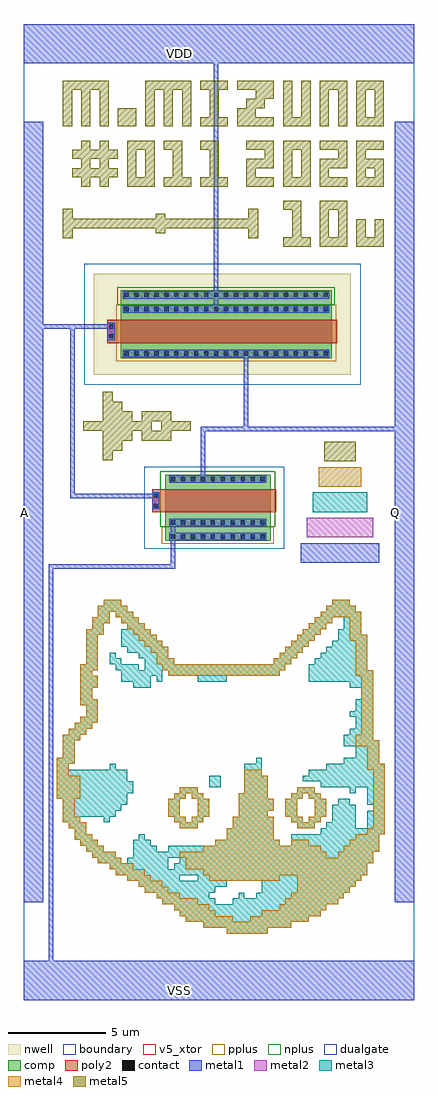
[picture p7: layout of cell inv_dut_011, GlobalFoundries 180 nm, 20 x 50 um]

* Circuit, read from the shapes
.subckt inv_dut_011 A Q VDD VSS
XM1 Q A VSS VSS nfet_05v0 w=5.4u l=1.2u
XM2 VDD A Q VDD pfet_05v0 w=10.8u l=1.2u
.ends

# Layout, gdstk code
from math import pi, radians
import gdstk
lib = gdstk.Library(unit=1e-6, precision=1e-09)
def R(c, l, rs):  # rectangles x0, y0, x1, y1
    for r in rs: c.add(gdstk.rectangle(r[:2], r[2:], *l))
def A(c, l, x, y, w, h, nx, ny, dx, dy):  # array of equal rectangles
    R(c, l, [(x+i*dx, y+j*dy, x+i*dx+w, y+j*dy+h) for i in range(nx) for j in range(ny)])
boundary = (0, 0)
nwell = (21, 0)
comp = (22, 0)
poly2 = (30, 0)
pplus = (31, 0)
nplus = (32, 0)
contact = (33, 0)
metal1 = (34, 0)
metal2 = (36, 0)
metal3 = (42, 0)
metal4 = (46, 0)
dualgate = (55, 0)
metal5 = (81, 0)
v5_xtor = (112, 1)

nfet_17 = lib.new_cell('nfet$17')
R(nfet_17, comp, [(-0.42,0,2.95,5.4)])
R(nfet_17, poly2, [(0.31,-0.66,1.51,5.7)])
R(nfet_17, pplus, [(2.24,-0.17,3.12,5.57)])
R(nfet_17, nplus, [(-0.59,-0.24,2.24,5.64)])
A(nfet_17, contact, -0.32, 0.295, 0.22, 0.22, 1, 10, 0, 0.51)
A(nfet_17, contact, 1.92, 0.295, 0.22, 0.22, 1, 10, 0, 0.51)
A(nfet_17, contact, 2.63, 0.295, 0.22, 0.22, 1, 10, 0, 0.51)
R(nfet_17, contact, [(0.545,-0.59,0.765,-0.37), (1.055,-0.59,1.275,-0.37)])
R(nfet_17, metal1, [(0.465,-0.67,1.355,-0.29), (-0.4,0.215,-0.02,5.185), (1.84,0.215,2.22,5.185), (2.55,0.215,2.93,5.185)])
R(nfet_17, dualgate, [(-0.84,-1.08,3.37,6.11)])
R(nfet_17, v5_xtor, [(-0.84,-1.08,3.37,6.11)])

pfet_15 = lib.new_cell('pfet$15')
R(pfet_15, nwell, [(-1.32,-0.99,3.87,12.17)])
R(pfet_15, comp, [(-0.46,0,3.01,10.8)])
R(pfet_15, poly2, [(0.31,-0.3,1.51,11.48)])
R(pfet_15, pplus, [(-0.63,-0.24,2.28,11.04)])
R(pfet_15, nplus, [(2.28,-0.17,3.18,10.97)])
A(pfet_15, contact, -0.34, 0.19, 0.22, 0.22, 1, 21, 0, 0.51)
A(pfet_15, contact, 1.94, 0.19, 0.22, 0.22, 1, 21, 0, 0.51)
A(pfet_15, contact, 2.67, 0.19, 0.22, 0.22, 1, 21, 0, 0.51)
R(pfet_15, contact, [(0.545,11.18,0.765,11.4), (1.055,11.18,1.275,11.4)])
R(pfet_15, metal1, [(-0.42,0.11,-0.04,10.69), (1.86,0.11,2.24,10.69), (2.59,0.11,2.97,10.69), (0.465,11.1,1.355,11.48)])
R(pfet_15, dualgate, [(-1.82,-1.49,4.37,12.67)])
R(pfet_15, v5_xtor, [(-1.82,-1.49,4.37,12.67)])

inv_dut_011 = lib.new_cell('inv_dut_011')
R(inv_dut_011, boundary, [(-10,-25,10,25)])
R(inv_dut_011, metal1, [(-10,-25,10,-23), (-10,-20,-9,20), (9,-20,10,20), (4.2,-2.6,8.2,-1.6), (-10,23,10,25)])
R(inv_dut_011, metal2, [(4.5,-1.3,7.9,-0.3)])
R(inv_dut_011, metal3, [(0.4,-21.6,2.5,-21.3), (-0.8,-21.3,3.7,-21), (-1.7,-21,4.6,-20.7), (-2,-20.7,5.2,-20.4), (-2.3,-20.4,5.5,-20.1), (-2.9,-20.1,-0.2,-19.8), (0.7,-20.1,6.1,-19.8), (-3.2,-19.8,-0.5,-19.5), (1,-19.8,1.3,-19.5), (1.9,-19.8,6.4,-19.5), (-3.8,-19.5,-0.2,-19.2), (2.2,-19.5,6.7,-19.2), (-4.1,-19.2,0.4,-18.9), (2.2,-19.2,7,-18.9), (-4.7,-18.9,-2,-18.6), (-1.1,-18.9,7.3,-18.6), (-5.3,-18.6,7.6,-18.3), (-5.6,-18.3,-2.6,-18), (-2.3,-18.3,7.6,-18), (-6.2,-18,-5,-17.7), (-4.7,-18,-2.6,-17.7), (-2,-18,7.9,-17.7), (-6.5,-17.7,-5.3,-17.4), (-4.4,-17.7,7.9,-17.4), (-6.8,-17.4,-5.9,-17.1), (-4.4,-17.4,-3.2,-17.1), (-2.6,-17.4,8.2,-17.1), (-7.1,-17.1,-6.2,-16.8), (-4.4,-17.1,-3.5,-16.8), (-0.2,-17.1,3.1,-16.8), (3.7,-17.1,8.2,-16.5), (-7.4,-16.8,-6.5,-16.5), (-4.1,-16.8,-3.8,-16.5), (0.4,-16.8,2.8,-16.2), (-7.4,-16.5,-6.8,-16.2), (5.2,-16.5,8.5,-16.2), (-7.7,-16.2,-6.8,-15.9), (-2,-16.2,-1.1,-15.9), (0.7,-16.2,2.8,-15.6), (4,-16.2,4.9,-15.9), (5.5,-16.2,7,-15.9), (7.6,-16.2,8.5,-15.3), (-8,-15.9,-7.1,-15.6), (-5.9,-15.9,-5.6,-15.6), (-2.3,-15.9,-1.7,-15.6), (-1.4,-15.9,-0.8,-15.6), (3.7,-15.9,4.3,-15.6), (4.6,-15.9,5.2,-15.6), (5.8,-15.9,7,-15), (-8,-15.6,-5.3,-15.3), (-2.6,-15.6,-2,-14.7), (-1.1,-15.6,-0.5,-14.7), (1,-15.6,2.5,-15.3), (3.4,-15.6,4,-14.7), (4.9,-15.6,5.5,-14.7), (-8,-15.3,-5,-15), (1,-15.3,2.8,-14.7), (7.9,-15.3,8.5,-15), (-8,-15,-4.7,-14.7), (6.1,-15,6.7,-14.7), (7.6,-15,8.5,-14.1), (-8.3,-14.7,-4.7,-14.4), (-2.3,-14.7,-1.7,-14.4), (-1.4,-14.7,-0.8,-14.4), (1,-14.7,2.5,-14.4), (3.7,-14.7,4.3,-14.4), (4.6,-14.7,5.2,-14.4), (-8.3,-14.4,-4.4,-13.8), (-2,-14.4,-1.1,-14.1), (1.3,-14.4,2.5,-13.5), (4,-14.4,4.9,-14.1), (6.7,-14.4,7,-14.1), (-0.5,-14.1,0.1,-13.5), (5.2,-14.1,8.5,-13.8), (-8.3,-13.8,-4.7,-13.2), (4.3,-13.8,8.5,-13.5), (1.3,-13.5,2.2,-12.9), (4.6,-13.5,8.5,-13.2), (-8.3,-13.2,-7.7,-12.9), (-5.6,-13.2,-5.3,-12.9), (5.5,-13.2,8.5,-12.9), (-8.3,-12.9,-7.4,-12.6), (1.9,-12.9,2.2,-12.6), (6.4,-12.9,8.2,-12.6), (-8,-12.6,-7.4,-11.7), (7,-12.6,8.2,-12), (6.4,-12,8.2,-11.7), (-8,-11.7,-7.1,-11.4), (6.4,-11.7,7.9,-11.4), (-7.7,-11.4,-6.8,-11.1), (6.7,-11.4,7.9,-11.1), (-7.4,-11.1,-6.5,-10.8), (7,-11.1,7.9,-10.5), (-7.1,-10.8,-6.2,-10.5), (-6.8,-10.5,-6.2,-9.9), (6.7,-10.5,7.9,-10.2), (7,-10.2,7.9,-9.6), (-7.1,-9.9,-6.2,-9.6), (-7.1,-9.6,-6.5,-9), (7.3,-9.6,7.9,-9), (-7.1,-9,-6.2,-8.4), (-4.4,-9,-3.5,-8.7), (6.7,-9,7.9,-8.7), (-5,-8.7,-3.5,-8.4), (-3.2,-8.7,-2.9,-8.4), (-1.1,-8.7,0.4,-8.4), (4.6,-8.7,7.9,-8.1), (-7.1,-8.4,-6.5,-8.1), (-5,-8.4,-2.9,-8.1), (-2.6,-8.4,3.1,-8.1), (-7.1,-8.1,-6.2,-7.8), (-5.3,-8.1,-4.1,-7.8), (-3.8,-8.1,3.4,-7.8), (4.6,-8.1,7.6,-7.8), (-6.8,-7.8,-6.2,-6.3), (-5.6,-7.8,-5,-7.5), (-3.8,-7.8,-2.3,-7.5), (2.8,-7.8,3.7,-7.5), (4.9,-7.8,7.6,-7.5), (-5.6,-7.5,-5.3,-7.2), (-4.1,-7.5,-2.6,-7.2), (3.1,-7.5,4,-7.2), (5.2,-7.5,7.6,-7.2), (-4.7,-7.2,-2.6,-6.9), (3.4,-7.2,4.3,-6.9), (5.5,-7.2,7.6,-6.9), (-5,-6.9,-2.9,-6.6), (3.7,-6.9,4.6,-6.6), (5.8,-6.9,7.6,-6.6), (-5,-6.6,-3.2,-6.3), (4,-6.6,4.9,-6.3), (6.1,-6.6,7.6,-6.3), (-6.8,-6.3,-5.9,-6), (-5,-6.3,-3.5,-6), (4.3,-6.3,5.2,-6), (6.1,-6.3,7.3,-6), (-6.5,-6,-5.9,-5.7), (-4.7,-6,-3.8,-5.7), (4.6,-6,5.5,-5.7), (6.4,-6,7.3,-5.4), (-6.5,-5.7,-5.6,-5.4), (-5,-5.7,-4.1,-5.4), (4.9,-5.7,5.8,-5.4), (-6.2,-5.4,-5.6,-5.1), (-5.3,-5.4,-4.4,-5.1), (5.2,-5.4,7.3,-5.1), (-6.2,-5.1,-4.7,-4.8), (5.5,-5.1,7,-4.8), (-5.9,-4.8,-5,-4.5), (5.8,-4.8,6.7,-4.5), (4.8,0,7.6,1)])
R(inv_dut_011, metal4, [(0.4,-21.6,2.5,-21.3), (-0.8,-21.3,3.7,-21), (-1.7,-21,0.7,-20.7), (1.6,-21,4.6,-20.7), (-2,-20.7,-0.2,-20.4), (2.2,-20.7,5.2,-20.4), (-2.3,-20.4,-0.5,-20.1), (3.1,-20.4,5.5,-20.1), (-2.9,-20.1,-1.1,-19.8), (3.4,-20.1,6.1,-19.8), (-3.2,-19.8,-2,-19.5), (3.7,-19.8,6.4,-19.5), (-3.8,-19.5,-2.6,-19.2), (4,-19.5,6.7,-19.2), (-4.1,-19.2,-2.9,-18.9), (4,-19.2,7,-18.9), (-4.7,-18.9,-3.5,-18.6), (-0.5,-18.9,3.1,-18.6), (4,-18.9,7.3,-18.6), (-5.3,-18.6,-3.8,-18.3), (-0.8,-18.6,7.6,-18.3), (-5.6,-18.3,-4.4,-18), (-1.7,-18.3,7.6,-18), (-6.2,-18,-5,-17.7), (-1.7,-18,7.9,-17.7), (-6.5,-17.7,-5.3,-17.4), (-2,-17.7,5.5,-17.4), (6.1,-17.7,7.9,-17.4), (-6.8,-17.4,-5.9,-17.1), (-0.8,-17.4,5.2,-17.1), (6.4,-17.4,8.2,-17.1), (-7.1,-17.1,-6.2,-16.8), (-0.2,-17.1,3.1,-16.8), (3.7,-17.1,4.6,-16.8), (6.7,-17.1,8.2,-16.8), (-7.4,-16.8,-6.5,-16.5), (0.4,-16.8,2.8,-16.2), (7,-16.8,8.2,-16.5), (-7.4,-16.5,-6.8,-16.2), (7.6,-16.5,8.5,-16.2), (-7.7,-16.2,-6.8,-15.9), (-2,-16.2,-1.1,-15.9), (0.7,-16.2,2.8,-15.6), (4,-16.2,4.9,-15.9), (7.9,-16.2,8.5,-13.2), (-8,-15.9,-7.1,-15.6), (-2.3,-15.9,-1.7,-15.6), (-1.4,-15.9,-0.8,-15.6), (3.7,-15.9,4.3,-15.6), (4.6,-15.9,5.2,-15.6), (-8,-15.6,-7.4,-14.7), (-2.6,-15.6,-2,-14.7), (-1.1,-15.6,-0.5,-14.7), (1,-15.6,2.5,-15.3), (3.4,-15.6,4,-14.7), (4.9,-15.6,5.5,-14.7), (1,-15.3,2.8,-14.7), (-8.3,-14.7,-7.1,-13.5), (-2.3,-14.7,-1.7,-14.4), (-1.4,-14.7,-0.8,-14.4), (1,-14.7,2.5,-14.4), (3.7,-14.7,4.3,-14.4), (4.6,-14.7,5.2,-14.4), (-2,-14.4,-1.1,-14.1), (1.3,-14.4,2.5,-13.5), (4,-14.4,4.9,-14.1), (-8.3,-13.5,-7.7,-12.9), (1.3,-13.5,2.2,-13.2), (7.6,-13.2,8.5,-12.9), (-8.3,-12.9,-7.4,-12.6), (7.6,-12.9,8.2,-12), (-8,-12.6,-7.4,-11.7), (7,-12,8.2,-11.7), (-8,-11.7,-7.1,-11.4), (7,-11.7,7.9,-11.4), (-7.7,-11.4,-6.8,-11.1), (7.3,-11.4,7.9,-8.4), (-7.4,-11.1,-6.5,-10.8), (-7.1,-10.8,-6.2,-10.5), (-6.8,-10.5,-6.2,-9.9), (-7.1,-9.9,-6.2,-9.6), (-7.1,-9.6,-6.5,-9), (-7.1,-9,-6.2,-8.4), (-7.1,-8.4,-6.5,-8.1), (-2.6,-8.4,3.1,-8.1), (7,-8.4,7.9,-8.1), (-7.1,-8.1,-6.2,-7.8), (-2.9,-8.1,3.4,-7.8), (7,-8.1,7.6,-6.6), (-6.8,-7.8,-6.2,-6.3), (-3.2,-7.8,-2.3,-7.5), (2.8,-7.8,3.7,-7.5), (-3.2,-7.5,-2.6,-7.2), (3.1,-7.5,4,-7.2), (-3.5,-7.2,-2.6,-6.9), (3.4,-7.2,4.3,-6.9), (-3.8,-6.9,-2.9,-6.6), (3.7,-6.9,4.6,-6.6), (-4.1,-6.6,-3.2,-6.3), (4,-6.6,4.9,-6.3), (6.7,-6.6,7.6,-6.3), (-6.8,-6.3,-5.9,-6), (-4.4,-6.3,-3.5,-6), (4.3,-6.3,5.2,-6), (6.7,-6.3,7.3,-5.4), (-6.5,-6,-5.9,-5.7), (-4.7,-6,-3.8,-5.7), (4.6,-6,5.5,-5.7), (-6.5,-5.7,-5.6,-5.4), (-5,-5.7,-4.1,-5.4), (4.9,-5.7,5.8,-5.4), (-6.2,-5.4,-5.6,-5.1), (-5.3,-5.4,-4.4,-5.1), (5.2,-5.4,7.3,-5.1), (-6.2,-5.1,-4.7,-4.8), (5.5,-5.1,7,-4.8), (-5.9,-4.8,-5,-4.5), (5.8,-4.8,6.7,-4.5), (5.1,1.3,7.3,2.3)])
A(inv_dut_011, metal5, 3.28, 13.6, 1.41, 0.47, 3, 1, 1.88, 0)
A(inv_dut_011, metal5, -7.06, 16.675, 0.47, 0.47, 1, 3, 0, 0.94)
A(inv_dut_011, metal5, -6.12, 16.675, 0.47, 0.47, 1, 3, 0, 0.94)
A(inv_dut_011, metal5, -4.71, 16.675, 1.41, 0.47, 3, 1, 1.88, 0)
A(inv_dut_011, metal5, 1.4, 16.675, 1.41, 0.47, 4, 2, 1.88, 1.88)
A(inv_dut_011, metal5, -8, 19.75, 0.47, 1.88, 3, 1, 0.94, 0)
A(inv_dut_011, metal5, -3.77, 19.75, 0.47, 1.88, 3, 1, 0.94, 0)
R(inv_dut_011, metal5, [(5.4,2.6,7,3.6), (-5.95,2.65,-5.45,3.15), (-5.95,3.15,-4.95,3.65), (-5.95,3.65,-4.45,4.15), (-3.95,3.65,-2.45,4.15), (-6.95,4.15,-3.45,4.65), (-2.95,4.15,-1.45,4.65), (-5.95,4.65,-4.45,5.15), (-3.95,4.65,-2.45,5.15), (-5.95,5.15,-4.95,5.65), (-5.95,5.65,-5.45,6.15), (-8,14.025,-7.5,14.525), (1.5,14.025,2,14.525), (3.75,14.07,4.22,15.48), (5.16,14.07,5.63,15.48), (6.1,14.07,6.57,15.48), (7.04,14.07,7.51,15.01), (7.98,14.07,8.45,15.01), (-3.25,14.275,-2.75,14.525), (-8,14.525,2,15.025), (-8,15.025,-7.5,15.525), (-3.25,15.025,-2.75,15.275), (1.5,15.025,2,15.525), (3.28,15.48,4.22,15.95), (5.16,15.48,6.57,15.95), (-7.53,17.145,-5.18,17.615), (-4.71,17.145,-4.24,18.555), (-3.77,17.145,-3.3,18.555), (-2.36,17.145,-1.89,18.555), (-0.48,17.145,-0.01,18.555), (1.4,17.145,1.87,17.615), (3.28,17.145,3.75,18.555), (4.22,17.145,4.69,18.555), (5.16,17.145,5.63,17.615), (7.04,17.145,7.51,17.615), (7.98,17.145,8.45,17.615), (1.4,17.615,2.81,18.085), (5.16,17.615,6.57,18.085), (7.04,17.615,8.45,18.085), (-7.53,18.085,-5.18,18.555), (2.34,18.085,2.81,18.555), (6.1,18.085,6.57,18.555), (7.04,18.085,7.51,18.555), (-4.71,18.555,-3.3,19.025), (-2.83,18.555,-1.89,19.025), (-0.95,18.555,-0.01,19.025), (-5.18,19.75,-4.24,20.69), (-0.95,19.75,0.46,20.22), (0.93,19.75,2.81,20.22), (3.28,19.75,4.69,20.22), (5.16,19.75,5.63,21.63), (6.1,19.75,6.57,21.63), (7.04,19.75,8.45,20.22), (-0.48,20.22,-0.01,21.63), (0.93,20.22,1.87,20.69), (3.28,20.22,3.75,22.1), (4.22,20.22,4.69,22.1), (7.04,20.22,7.51,21.63), (7.98,20.22,8.45,21.63), (1.4,20.69,2.34,21.16), (1.87,21.16,2.81,21.63), (-8,21.63,-5.65,22.1), (-3.77,21.63,-1.42,22.1), (-0.95,21.63,0.46,22.1), (0.93,21.63,2.81,22.1), (5.16,21.63,6.57,22.1), (7.04,21.63,8.45,22.1)])
inv_dut_011.add(gdstk.FlexPath([(-5.335,9.51),(-9.915,9.51)], 0.23, ends="flush", simple_path=True, layer=34, datatype=0))  # metal1
inv_dut_011.add(gdstk.FlexPath([(-7.505,9.625),(-7.505,0.83),(-3.05,0.83)], 0.23, ends="flush", simple_path=True, layer=34, datatype=0))  # metal1
inv_dut_011.add(gdstk.FlexPath([(-2.355,-0.355),(-2.355,-2.8),(-8.6,-2.8),(-8.6,-24.01)], 0.23, ends="flush", simple_path=True, layer=34, datatype=0))  # metal1
inv_dut_011.add(gdstk.FlexPath([(-0.145,23.45),(-0.145,10.205)], 0.23, ends="flush", simple_path=True, layer=34, datatype=0))  # metal1
inv_dut_011.add(gdstk.FlexPath([(1.385,8.305),(1.385,4.255),(9.5,4.255)], 0.23, ends="flush", simple_path=True, layer=34, datatype=0))  # metal1
inv_dut_011.add(gdstk.FlexPath([(-0.825,1.505),(-0.825,4.255),(1.5,4.255)], 0.23, ends="flush", simple_path=True, layer=34, datatype=0))  # metal1
inv_dut_011.add(gdstk.Reference(nfet_17, (-2.76,1.485), rotation=3*pi/2))
inv_dut_011.add(gdstk.Reference(pfet_15, (5.765,8.345), rotation=pi/2))
inv_dut_011.add(gdstk.Label('VDD', (-2,23.5), layer=34, texttype=10))
inv_dut_011.add(gdstk.Label('VSS', (-2,-24.5), layer=34, texttype=10))
inv_dut_011.add(gdstk.Label('A', (-9.97,0), layer=34, texttype=10))
inv_dut_011.add(gdstk.Label('Q', (9.03,0), layer=34, texttype=10))

lib.write_gds('inv_dut_011.gds')
